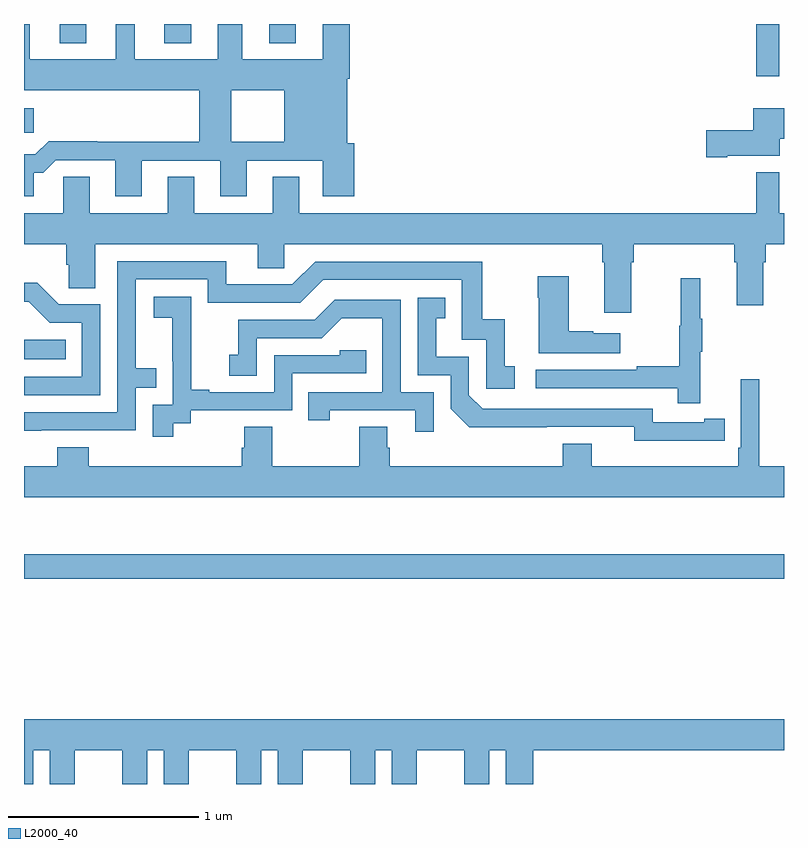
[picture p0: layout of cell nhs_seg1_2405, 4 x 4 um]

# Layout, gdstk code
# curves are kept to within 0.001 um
import gdstk
lib = gdstk.Library(unit=1e-6, precision=1e-09)
def R(c, l, rs):  # rectangles x0, y0, x1, y1
    for r in rs: c.add(gdstk.rectangle(r[:2], r[2:], *l))
def A(c, l, x, y, w, h, nx, ny, dx, dy):  # array of equal rectangles
    R(c, l, [(x+i*dx, y+j*dy, x+i*dx+w, y+j*dy+h) for i in range(nx) for j in range(ny)])
def P(c, l, *ps):  # polygons
    for p in ps: c.add(gdstk.Polygon(p, *l))
L2000_40 = (2000, 40)

nhs_seg1_2405 = lib.new_cell('nhs_seg1_2405')
A(nhs_seg1_2405, L2000_40, 241.187, 578.099, 0.14, 0.1, 3, 1, 0.552, 0)
R(nhs_seg1_2405, L2000_40, [(241,575.278,245,575.407), (241,576.434,241.22,576.538), (241,577.627,241.051,577.756), (244.854,577.923,244.975,578.199)])
P(nhs_seg1_2405, L2000_40, [(241.385,577.583),(241.13,577.583),(241.06,577.513),(241,577.513),(241,577.293),(241.051,577.293),(241.051,577.415),(241.1,577.415),(241.167,577.482),(241.481,577.482),(241.481,577.293),(241.621,577.293),(241.621,577.479),(242.033,577.479),(242.033,577.293),(242.173,577.293),(242.173,577.479),(242.573,577.479),(242.573,577.293),(242.738,577.293),(242.738,577.572),(242.701,577.572),(242.701,577.91),(242.714,577.91),(242.714,578.199),(242.573,578.199),(242.573,578.014),(242.149,578.014),(242.149,578.199),(242.021,578.199),(242.021,578.014),(241.582,578.014),(241.582,578.199),(241.484,578.199),(241.484,578.014),(241.03,578.014),(241.03,578.199),(241,578.199),(241,577.85),(241.922,577.85),(241.922,577.58),(242.092,577.58),(242.092,577.85),(242.369,577.85),(242.369,577.58),(241.385,577.58)],
  [(244.702,577.505),(244.978,577.505),(244.978,577.595),(245,577.595),(245,577.756),(244.838,577.756),(244.838,577.64),(244.59,577.64),(244.59,577.498),(244.702,577.498)],
  [(242.37,577.04),(244.043,577.04),(244.043,576.944),(244.055,576.944),(244.055,576.678),(244.195,576.678),(244.195,576.944),(244.208,576.944),(244.208,577.04),(244.739,577.04),(244.739,576.944),(244.751,576.944),(244.751,576.72),(244.891,576.72),(244.891,576.944),(244.904,576.944),(244.904,577.04),(245,577.04),(245,577.204),(244.975,577.204),(244.975,577.42),(244.854,577.42),(244.854,577.204),(242.449,577.204),(242.449,577.394),(242.309,577.394),(242.309,577.204),(241.897,577.204),(241.897,577.394),(241.757,577.394),(241.757,577.204),(241.345,577.204),(241.345,577.394),(241.206,577.394),(241.206,577.204),(241,577.204),(241,577.04),(241.223,577.04),(241.223,576.931),(241.236,576.931),(241.236,576.808),(241.375,576.808),(241.375,577.04),(242.231,577.04),(242.231,576.913),(242.37,576.913)],
  [(241.091,576.06),(241.587,576.06),(241.587,576.285),(241.697,576.285),(241.697,576.386),(241.587,576.386),(241.587,576.855),(241.968,576.855),(241.968,576.732),(242.454,576.732),(242.574,576.852),(243.303,576.852),(243.303,576.537),(243.432,576.537),(243.432,576.279),(243.583,576.279),(243.583,576.399),(243.53,576.399),(243.53,576.646),(243.412,576.646),(243.412,576.948),(242.532,576.948),(242.412,576.828),(242.065,576.828),(242.065,576.951),(241.491,576.951),(241.491,576.156),(241,576.156),(241,576.059)],
  [(244.138,576.571),(243.995,576.571),(243.995,576.581),(243.868,576.581),(243.868,576.871),(243.703,576.871),(243.703,576.758),(243.71,576.758),(243.71,576.467),(244.138,576.467)],
  [(244.559,576.475),(244.57,576.475),(244.57,576.649),(244.559,576.649),(244.559,576.862),(244.456,576.862),(244.456,576.612),(244.449,576.612),(244.449,576.398),(244.225,576.398),(244.225,576.378),(243.693,576.378),(243.693,576.282),(244.441,576.282),(244.441,576.204),(244.559,576.204)],
  [(241.401,576.723),(241.182,576.723),(241.069,576.836),(241,576.836),(241,576.738),(241.025,576.738),(241.136,576.627),(241.305,576.627),(241.305,576.342),(241,576.342),(241,576.246),(241.401,576.246)],
  [(241.786,576.097),(241.878,576.097),(241.878,576.165),(242.412,576.165),(242.412,576.36),(242.801,576.36),(242.801,576.483),(242.661,576.483),(242.661,576.456),(242.316,576.456),(242.316,576.261),(241.975,576.261),(241.975,576.274),(241.88,576.274),(241.88,576.557),(241.881,576.557),(241.881,576.763),(241.683,576.763),(241.683,576.653),(241.781,576.653),(241.781,576.425),(241.782,576.425),(241.782,576.195),(241.677,576.195),(241.677,576.027),(241.786,576.027)],
  [(244.58,576.006),(244.688,576.006),(244.688,576.122),(244.58,576.122),(244.58,576.102),(244.308,576.102),(244.308,576.174),(243.414,576.174),(243.342,576.246),(243.342,576.447),(243.169,576.447),(243.169,576.651),(243.218,576.651),(243.218,576.757),(243.072,576.757),(243.072,576.351),(243.246,576.351),(243.246,576.174),(243.344,576.077),(244.212,576.078),(244.212,576.005)],
  [(243.156,576.261),(242.982,576.261),(242.982,576.747),(242.636,576.747),(242.531,576.642),(242.128,576.642),(242.128,576.457),(242.079,576.457),(242.079,576.348),(242.226,576.348),(242.226,576.546),(242.568,576.546),(242.672,576.65),(242.886,576.65),(242.886,576.261),(242.497,576.261),(242.497,576.114),(242.608,576.114),(242.608,576.165),(243.059,576.165),(243.059,576.054),(243.156,576.054)],
  [(245,575.872),(244.87,575.872),(244.87,576.328),(244.773,576.328),(244.773,575.968),(244.76,575.968),(244.76,575.872),(243.988,575.872),(243.988,575.989),(243.836,575.989),(243.836,575.872),(242.924,575.872),(242.924,575.97),(242.911,575.97),(242.911,576.08),(242.764,576.08),(242.764,575.872),(242.307,575.872),(242.307,576.08),(242.159,576.08),(242.159,575.97),(242.147,575.97),(242.147,575.872),(241.34,575.872),(241.34,575.971),(241.175,575.971),(241.175,575.872),(241,575.872),(241,575.708),(245,575.708)],
  [(241.048,574.376),(241.136,574.376),(241.136,574.199),(241.267,574.199),(241.267,574.376),(241.517,574.376),(241.517,574.199),(241.648,574.199),(241.648,574.376),(241.736,574.376),(241.736,574.199),(241.867,574.199),(241.867,574.376),(242.117,574.376),(242.117,574.199),(242.248,574.199),(242.248,574.376),(242.336,574.376),(242.336,574.199),(242.467,574.199),(242.467,574.376),(242.717,574.376),(242.717,574.199),(242.848,574.199),(242.848,574.376),(242.936,574.376),(242.936,574.199),(243.067,574.199),(243.067,574.376),(243.317,574.376),(243.317,574.199),(243.448,574.199),(243.448,574.376),(243.536,574.376),(243.536,574.199),(243.68,574.199),(243.68,574.376),(245,574.376),(245,574.54),(241,574.54),(241,574.199),(241.048,574.199)])

lib.write_gds('nhs_seg1_2405.gds')
